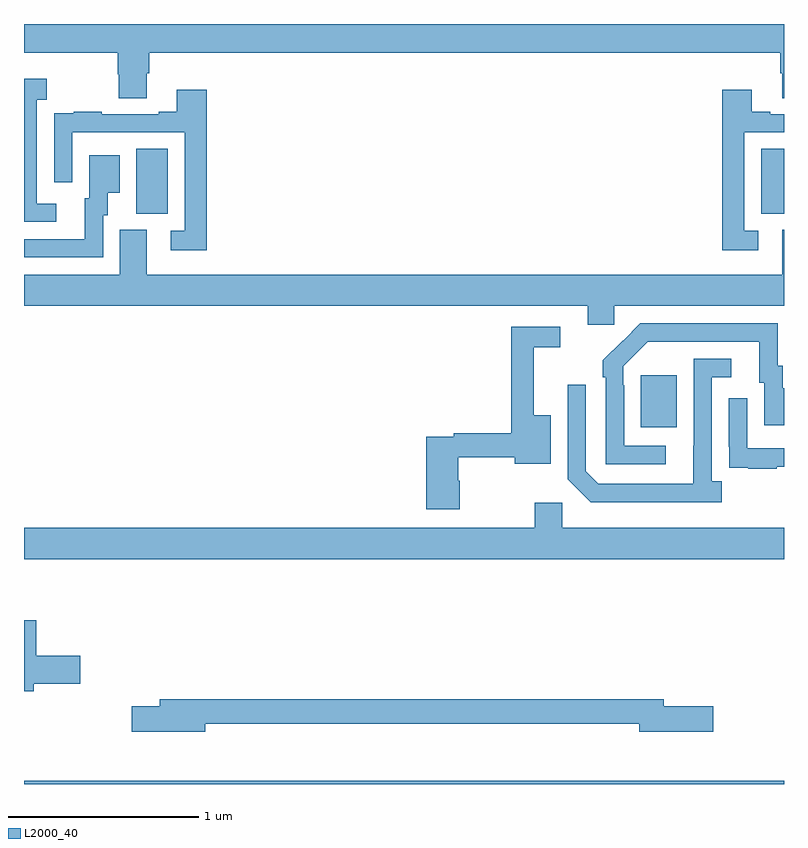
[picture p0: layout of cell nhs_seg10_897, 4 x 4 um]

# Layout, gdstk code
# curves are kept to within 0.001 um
import gdstk
lib = gdstk.Library(unit=1e-6, precision=1e-09)
def R(c, l, rs):  # rectangles x0, y0, x1, y1
    for r in rs: c.add(gdstk.rectangle(r[:2], r[2:], *l))
def P(c, l, *ps):  # polygons
    for p in ps: c.add(gdstk.Polygon(p, *l))
L2000_40 = (2000, 40)

nhs_seg10_897 = lib.new_cell('nhs_seg10_897')
R(nhs_seg10_897, L2000_40, [(157,1264.5,161,1264.516), (160.247,1266.377,160.435,1266.652), (157.592,1267.501,157.756,1267.844), (160.88,1267.501,161,1267.844)])
P(nhs_seg10_897, L2000_40, [(157.645,1268.242),(157.658,1268.242),(157.658,1268.348),(160.979,1268.348),(160.979,1268.242),(160.991,1268.242),(160.991,1268.11),(161,1268.11),(161,1268.5),(157,1268.5),(157,1268.348),(157.493,1268.348),(157.493,1268.235),(157.498,1268.235),(157.498,1268.11),(157.645,1268.11)],
  [(157.171,1267.554),(157.068,1267.554),(157.068,1268.102),(157.12,1268.102),(157.12,1268.212),(157,1268.212),(157,1267.458),(157.171,1267.458)],
  [(157.961,1268.155),(157.805,1268.155),(157.805,1268.038),(157.709,1268.038),(157.709,1268.025),(157.409,1268.025),(157.409,1268.038),(157.261,1268.038),(157.261,1268.031),(157.159,1268.031),(157.159,1267.922),(157.158,1267.922),(157.158,1267.668),(157.254,1267.668),(157.254,1267.929),(157.845,1267.929),(157.845,1267.413),(157.773,1267.413),(157.773,1267.308),(157.961,1267.308)],
  [(160.864,1267.413),(160.791,1267.413),(160.791,1267.929),(161,1267.929),(161,1268.025),(160.927,1268.025),(160.927,1268.038),(160.831,1268.038),(160.831,1268.155),(160.675,1268.155),(160.675,1267.308),(160.864,1267.308)],
  [(157.416,1267.494),(157.441,1267.494),(157.441,1267.613),(157.504,1267.613),(157.504,1267.81),(157.343,1267.81),(157.343,1267.584),(157.319,1267.584),(157.319,1267.368),(157,1267.368),(157,1267.272),(157.416,1267.272)],
  [(160.107,1267.016),(161,1267.016),(161,1267.416),(160.991,1267.416),(160.991,1267.18),(157.645,1267.18),(157.645,1267.416),(157.505,1267.416),(157.505,1267.18),(157,1267.18),(157,1267.016),(159.968,1267.016),(159.968,1266.918),(160.107,1266.918)],
  [(160.378,1266.279),(160.158,1266.279),(160.158,1266.599),(160.155,1266.599),(160.155,1266.699),(160.284,1266.828),(160.871,1266.828),(160.871,1266.612),(160.895,1266.612),(160.895,1266.387),(161,1266.387),(161,1266.583),(160.993,1266.583),(160.993,1266.702),(160.968,1266.702),(160.968,1266.924),(160.244,1266.924),(160.047,1266.729),(160.047,1266.641),(160.062,1266.641),(160.062,1266.183),(160.378,1266.183)],
  [(159.294,1266.096),(159.286,1266.096),(159.286,1266.219),(159.584,1266.219),(159.584,1266.185),(159.772,1266.185),(159.772,1266.442),(159.683,1266.442),(159.683,1266.798),(159.823,1266.798),(159.823,1266.906),(159.565,1266.906),(159.565,1266.347),(159.262,1266.347),(159.262,1266.327),(159.116,1266.327),(159.116,1265.946),(159.294,1265.946)],
  [(160.672,1266.094),(160.62,1266.094),(160.62,1266.642),(160.723,1266.642),(160.723,1266.738),(160.524,1266.738),(160.523,1266.081),(160.023,1266.081),(159.957,1266.147),(159.957,1266.601),(159.861,1266.601),(159.861,1266.105),(159.982,1265.984),(160.672,1265.984)],
  [(160.961,1266.171),(161,1266.171),(161,1266.267),(160.806,1266.267),(160.806,1266.529),(160.71,1266.529),(160.71,1266.274),(160.711,1266.274),(160.711,1266.165),(160.813,1266.165),(160.813,1266.159),(160.961,1266.159)],
  [(161,1265.848),(159.834,1265.848),(159.834,1265.98),(159.688,1265.98),(159.688,1265.848),(157,1265.848),(157,1265.684),(161,1265.684)],
  [(157.051,1265.027),(157.297,1265.027),(157.297,1265.174),(157.064,1265.174),(157.064,1265.362),(157,1265.362),(157,1264.988),(157.051,1264.988)],
  [(157.954,1264.818),(160.238,1264.818),(160.238,1264.775),(160.627,1264.775),(160.627,1264.91),(160.366,1264.91),(160.366,1264.946),(157.715,1264.946),(157.715,1264.91),(157.566,1264.91),(157.566,1264.775),(157.954,1264.775)])

lib.write_gds('nhs_seg10_897.gds')
